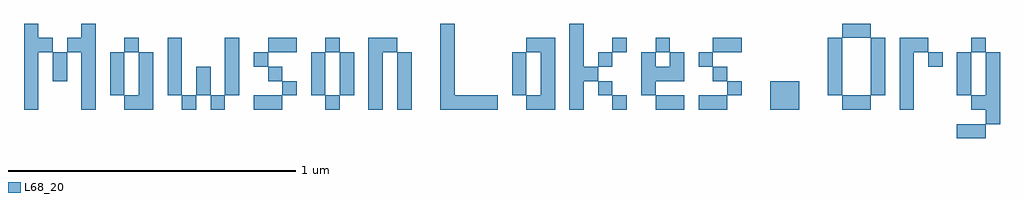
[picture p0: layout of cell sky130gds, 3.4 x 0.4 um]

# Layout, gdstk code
import gdstk
lib = gdstk.Library(unit=1e-6, precision=1e-09)
def R(c, l, rs):  # rectangles x0, y0, x1, y1
    for r in rs: c.add(gdstk.rectangle(r[:2], r[2:], *l))
def A(c, l, x, y, w, h, nx, ny, dx, dy):  # array of equal rectangles
    R(c, l, [(x+i*dx, y+j*dy, x+i*dx+w, y+j*dy+h) for i in range(nx) for j in range(ny)])
L68_20 = (68, 20)

sky130gds = lib.new_cell('sky130gds')
A(sky130gds, L68_20, 2.15, 0.15, 0.05, 0.05, 3, 1, 0.1, 0)
A(sky130gds, L68_20, 1.75, 0.2, 0.1, 0.05, 3, 1, 0.65, 0)
R(sky130gds, L68_20, [(3.25,-0.1,3.35,-0.05), (3.35,-0.05,3.4,0), (0,0,0.05,0.2), (0.2,0,0.25,0.2), (0.35,0,0.45,0.05), (0.55,0,0.6,0.05), (0.65,0,0.7,0.05), (0.8,0,0.9,0.05), (1.05,0,1.1,0.05), (1.2,0,1.25,0.2), (1.3,0,1.35,0.2), (1.45,0,1.65,0.05), (1.75,0,1.85,0.05), (1.9,0,1.95,0.1), (2.05,0,2.1,0.05), (2.2,0,2.3,0.05), (2.35,0,2.45,0.05), (2.6,0,2.7,0.1), (2.85,0,2.95,0.05), (3.05,0,3.1,0.2), (3.3,0,3.4,0.05), (0.3,0.05,0.35,0.2), (0.4,0.05,0.45,0.2), (0.5,0.05,0.55,0.25), (0.6,0.05,0.65,0.15), (0.7,0.05,0.75,0.25), (0.9,0.05,0.95,0.1), (1,0.05,1.05,0.2), (1.1,0.05,1.15,0.2), (1.45,0.05,1.5,0.3), (1.7,0.05,1.75,0.2), (1.8,0.05,1.85,0.2), (2,0.05,2.05,0.1), (2.15,0.05,2.2,0.1), (2.45,0.05,2.5,0.1), (2.8,0.05,2.85,0.25), (2.95,0.05,3,0.25), (3.25,0.05,3.3,0.2), (3.35,0.05,3.4,0.2), (0.1,0.1,0.15,0.2), (0.85,0.1,0.9,0.15), (1.9,0.1,2,0.15), (2.15,0.1,2.3,0.15), (2.4,0.1,2.45,0.15), (0.8,0.15,0.85,0.2), (1.9,0.15,1.95,0.3), (2,0.15,2.05,0.2), (3.15,0.15,3.2,0.2), (0,0.2,0.1,0.25), (0.15,0.2,0.25,0.25), (0.35,0.2,0.4,0.25), (0.85,0.2,0.95,0.25), (1.05,0.2,1.1,0.25), (1.2,0.2,1.3,0.25), (2.05,0.2,2.1,0.25), (2.2,0.2,2.25,0.25), (3.3,0.2,3.35,0.25), (0,0.25,0.05,0.3), (0.2,0.25,0.25,0.3), (2.85,0.25,2.95,0.3)])

lib.write_gds('sky130gds.gds')
